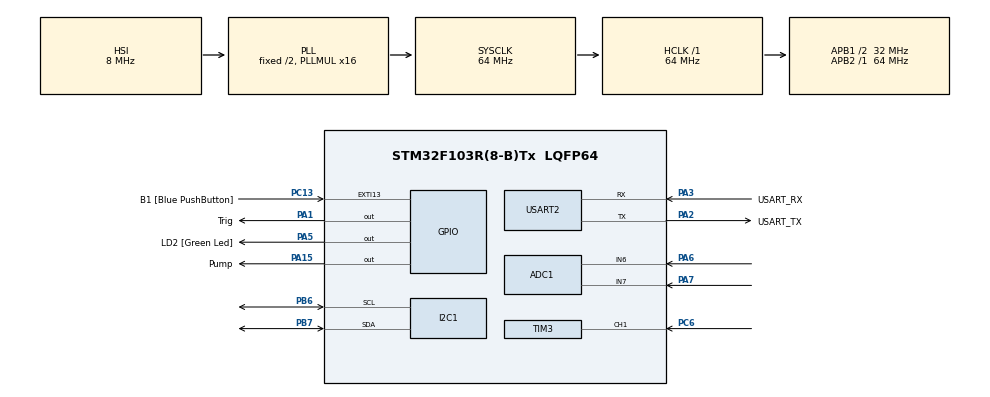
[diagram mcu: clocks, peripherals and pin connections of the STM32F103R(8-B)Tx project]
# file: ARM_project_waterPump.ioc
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ADC1.Channel-3\#ChannelRegularConversion=ADC_CHANNEL_6
ADC1.ContinuousConvMode=DISABLE
ADC1.NbrOfConversionFlag=1
ADC1.Rank-3\#ChannelRegularConversion=1
ADC1.SamplingTime-3\#ChannelRegularConversion=ADC_SAMPLETIME_28CYCLES_5
ADC1.master=1
Dma.ADC1.0.Direction=DMA_PERIPH_TO_MEMORY
Dma.ADC1.0.Instance=DMA1_Channel1
Dma.ADC1.0.MemDataAlignment=DMA_MDATAALIGN_WORD
Dma.ADC1.0.MemInc=DMA_MINC_ENABLE
Dma.ADC1.0.Mode=DMA_CIRCULAR
Dma.ADC1.0.PeriphDataAlignment=DMA_PDATAALIGN_WORD
Dma.ADC1.0.PeriphInc=DMA_PINC_DISABLE
Dma.ADC1.0.Priority=DMA_PRIORITY_LOW
Dma.Request0=ADC1
Mcu.Family=STM32F1
Mcu.Name=STM32F103R(8-B)Tx
Mcu.Package=LQFP64
NVIC.ADC1_2_IRQn=true\:0\:0\:false\:false\:true\:true\:true\:true
NVIC.DMA1_Channel1_IRQn=true\:0\:0\:false\:false\:true\:false\:true\:true
NVIC.EXTI15_10_IRQn=true\:0\:0\:false\:false\:true\:true\:true\:true
NVIC.PriorityGroup=NVIC_PRIORITYGROUP_4
NVIC.TIM2_IRQn=true\:0\:0\:false\:false\:true\:true\:true\:true
NVIC.TIM3_IRQn=true\:0\:0\:false\:false\:true\:true\:true\:true
PA1.GPIO_Label=Trig
PA1.Signal=GPIO_Output
PA13.GPIO_Label=TMS
PA13.Mode=Serial_Wire
PA13.Signal=SYS_JTMS-SWDIO
PA14.GPIO_Label=TCK
PA14.Mode=Serial_Wire
PA14.Signal=SYS_JTCK-SWCLK
PA15.GPIO_Label=Pump
PA15.Signal=GPIO_Output
PA2.GPIO_Label=USART_TX
PA2.GPIO_Mode=GPIO_MODE_AF_PP
PA2.GPIO_PuPd=GPIO_NOPULL
PA2.GPIO_Speed=GPIO_SPEED_FREQ_LOW
PA2.Mode=Asynchronous
PA2.Signal=USART2_TX
PA3.GPIO_Label=USART_RX
PA3.GPIO_Mode=GPIO_MODE_AF_PP
PA3.GPIO_PuPd=GPIO_NOPULL
PA3.GPIO_Speed=GPIO_SPEED_FREQ_LOW
PA3.Mode=Asynchronous
PA3.Signal=USART2_RX
PA5.GPIO_Label=LD2 [Green Led]
PA5.GPIO_ModeDefaultOutputPP=GPIO_MODE_OUTPUT_PP
PA5.GPIO_PuPd=GPIO_NOPULL
PA5.GPIO_Speed=GPIO_SPEED_FREQ_LOW
PA5.Signal=GPIO_Output
PA6.Signal=ADCx_IN6
PA7.Signal=ADCx_IN7
PB3.GPIO_Label=SWO
PB3.Signal=SYS_JTDO-TRACESWO
PB6.Mode=I2C
PB6.Signal=I2C1_SCL
PB7.Mode=I2C
PB7.Signal=I2C1_SDA
PC13-TAMPER-RTC.GPIO_Label=B1 [Blue PushButton]
PC13-TAMPER-RTC.GPIO_PuPd=GPIO_NOPULL
PC13-TAMPER-RTC.Signal=GPXTI13
PC14-OSC32_IN.Mode=LSE-External-Oscillator
PC14-OSC32_IN.Signal=RCC_OSC32_IN
PC15-OSC32_OUT.Mode=LSE-External-Oscillator
PC15-OSC32_OUT.Signal=RCC_OSC32_OUT
PC6.Signal=S_TIM3_CH1
PD0-OSC_IN.Mode=HSE-External-Clock-Source
PD0-OSC_IN.Signal=RCC_OSC_IN
PD1-OSC_OUT.Mode=HSE-External-Clock-Source
PD1-OSC_OUT.Signal=RCC_OSC_OUT
ProjectManager.HeapSize=0x200
ProjectManager.StackSize=0x400
ProjectManager.TargetToolchain=STM32CubeIDE
RCC.ADCPresc=RCC_ADCPCLK2_DIV8
RCC.AHBFreq_Value=64000000
RCC.APB1CLKDivider=RCC_HCLK_DIV2
RCC.APB1Freq_Value=32000000
RCC.APB1TimFreq_Value=64000000
RCC.APB2Freq_Value=64000000
RCC.APB2TimFreq_Value=64000000
RCC.HCLKFreq_Value=64000000
RCC.PLLMUL=RCC_PLL_MUL16
RCC.RTCClockSelection=RCC_RTCCLKSOURCE_LSE
RCC.SYSCLKFreq_VALUE=64000000
RCC.SYSCLKSource=RCC_SYSCLKSOURCE_PLLCLK
RCC.USBFreq_Value=64000000
SH.ADCx_IN6.0=ADC1_IN6,IN6
SH.ADCx_IN7.0=ADC1_IN7,IN7
SH.S_TIM3_CH1.0=TIM3_CH1,Input_Capture1_from_TI1
TIM2.Prescaler=64-1
TIM3.Channel-Input_Capture1_from_TI1=TIM_CHANNEL_1
TIM3.Prescaler=64-1
USART2.VirtualMode=VM_ASYNC
VP_TIM2_VS_ClockSourceINT.Mode=Internal
VP_TIM3_VS_ClockSourceINT.Mode=Internal
board=NUCLEO-F103RB

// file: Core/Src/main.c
/* USER CODE BEGIN Header */
/**
  ******************************************************************************
  * @file           : main.c
  * @brief          : Main program body
  ******************************************************************************
  * @attention
  *
  * Copyright (c) 2022 STMicroelectronics.
  * All rights reserved.
  *
  * This software is licensed under terms that can be found in the LICENSE file
  * in the root directory of this software component.
  * If no LICENSE file comes with this software, it is provided AS-IS.
  *
  ******************************************************************************
  */
/* USER CODE END Header */
#include "main.h"

 ADC_HandleTypeDef hadc1;
DMA_HandleTypeDef hdma_adc1;

I2C_HandleTypeDef hi2c1;

TIM_HandleTypeDef htim2;
TIM_HandleTypeDef htim3;

UART_HandleTypeDef huart2;

/* USER CODE BEGIN PV */
uint32_t IC1, IC2, ic;
uint32_t adc_temperature = 0;

uint16_t SUM, RH, TEMP;

uint8_t Rh_byte1, Rh_byte2, Temp_byte1, Temp_byte2;
uint8_t Presence = 0;

int captureFlag = 0;

char displayDis[50];
char displayTemp[50];

float dis;
float Temperature = 0;
/* USER CODE END PV */

void SystemClock_Config(void);
static void MX_GPIO_Init(void);
static void MX_USART2_UART_Init(void);
static void MX_TIM2_Init(void);
static void MX_TIM3_Init(void);
static void MX_DMA_Init(void);
static void MX_ADC1_Init(void);
static void MX_I2C1_Init(void);

/* USER CODE BEGIN 0 */
#ifdef __GNUC__
/* With GCC, small printf (option LD Linker->Libraries->Small printf
 set to 'Yes') calls __io_putchar() */
#define PUTCHAR_PROTOTYPE int __io_putchar(int ch)
#else
#define PUTCHAR_PROTOTYPE int fputc(int ch, FILE *f)
#endif /* __GNUC__ */
PUTCHAR_PROTOTYPE {
	/* Place your implementation of fputc here */
	/* e.g. write a character to the USART1 and Loop until the end of transmission */
	HAL_UART_Transmit(&huart2, (uint8_t*) &ch, 1, 0xFFFF);

	return ch;
}

void delay_us(uint16_t time) {
	__HAL_TIM_SET_COUNTER(&htim2, 0);
	//TIM4->CNT = 0;
	while ((__HAL_TIM_GET_COUNTER(&htim2)) < time);
}
void ultraSonic(){
	  HAL_GPIO_WritePin(GPIOA, Trig_Pin, GPIO_PIN_SET);
	  delay_us(10);
	  HAL_GPIO_WritePin(GPIOA, Trig_Pin, GPIO_PIN_RESET);
}
void displayLCD(float dis){
	  sprintf(displayDis, "Dis : %.2fcm  ", dis);
	  //sprintf(displayTemp, "Temp : %.2f%cC", temp, 223);//ASCII Code 223 -> degree

	  lcd_put_cur(0, 0);
	  lcd_send_string(displayDis);

//	  lcd_put_cur(1, 0);
//	  lcd_send_string(displayTemp);
}
/* USER CODE END 0 */

int main(void)
{

  /* MCU Configuration--------------------------------------------------------*/

  /* Reset of all peripherals, Initializes the Flash interface and the Systick. */
  HAL_Init();

  /* Configure the system clock */
  SystemClock_Config();

  /* Initialize all configured peripherals */
  MX_GPIO_Init();
  MX_USART2_UART_Init();
  MX_TIM2_Init();
  MX_TIM3_Init();
  MX_DMA_Init();
  MX_ADC1_Init();
  MX_I2C1_Init();
  /* USER CODE BEGIN 2 */
  lcd_init();
  HAL_TIM_Base_Start(&htim2);
  HAL_TIM_IC_Start_IT(&htim3, TIM_CHANNEL_1);

  /* USER CODE END 2 */

  /* Infinite loop */
  /* USER CODE BEGIN WHILE */
  while (1)
  {
	  ultraSonic();
	  displayLCD(dis);

	  printf("distance : %.2f\n\r", dis);
	  if(dis >= 10.0){
		  HAL_GPIO_WritePin(GPIOA, Pump_Pin, GPIO_PIN_SET);
	  }
	  else{
		  HAL_GPIO_WritePin(GPIOA, Pump_Pin, GPIO_PIN_RESET);
	  }

	  HAL_Delay(500);
    /* USER CODE END WHILE */

  }
}

void SystemClock_Config(void)
{
  RCC_OscInitTypeDef RCC_OscInitStruct = {0};
  RCC_ClkInitTypeDef RCC_ClkInitStruct = {0};
  RCC_PeriphCLKInitTypeDef PeriphClkInit = {0};

  /** Initializes the RCC Oscillators according to the specified parameters
  * in the RCC_OscInitTypeDef structure.
  */
  RCC_OscInitStruct.OscillatorType = RCC_OSCILLATORTYPE_HSI;
  RCC_OscInitStruct.HSIState = RCC_HSI_ON;
  RCC_OscInitStruct.HSICalibrationValue = RCC_HSICALIBRATION_DEFAULT;
  RCC_OscInitStruct.PLL.PLLState = RCC_PLL_ON;
  RCC_OscInitStruct.PLL.PLLSource = RCC_PLLSOURCE_HSI_DIV2;
  RCC_OscInitStruct.PLL.PLLMUL = RCC_PLL_MUL16;
  if (HAL_RCC_OscConfig(&RCC_OscInitStruct) != HAL_OK)
  {
    Error_Handler();
  }

  /** Initializes the CPU, AHB and APB buses clocks
  */
  RCC_ClkInitStruct.ClockType = RCC_CLOCKTYPE_HCLK|RCC_CLOCKTYPE_SYSCLK
                              |RCC_CLOCKTYPE_PCLK1|RCC_CLOCKTYPE_PCLK2;
  RCC_ClkInitStruct.SYSCLKSource = RCC_SYSCLKSOURCE_PLLCLK;
  RCC_ClkInitStruct.AHBCLKDivider = RCC_SYSCLK_DIV1;
  RCC_ClkInitStruct.APB1CLKDivider = RCC_HCLK_DIV2;
  RCC_ClkInitStruct.APB2CLKDivider = RCC_HCLK_DIV1;

  if (HAL_RCC_ClockConfig(&RCC_ClkInitStruct, FLASH_LATENCY_2) != HAL_OK)
  {
    Error_Handler();
  }
  PeriphClkInit.PeriphClockSelection = RCC_PERIPHCLK_ADC;
  PeriphClkInit.AdcClockSelection = RCC_ADCPCLK2_DIV8;
  if (HAL_RCCEx_PeriphCLKConfig(&PeriphClkInit) != HAL_OK)
  {
    Error_Handler();
  }
}

static void MX_ADC1_Init(void)
{

  ADC_ChannelConfTypeDef sConfig = {0};

  /** Common config
  */
  hadc1.Instance = ADC1;
  hadc1.Init.ScanConvMode = ADC_SCAN_DISABLE;
  hadc1.Init.ContinuousConvMode = DISABLE;
  hadc1.Init.DiscontinuousConvMode = DISABLE;
  hadc1.Init.ExternalTrigConv = ADC_SOFTWARE_START;
  hadc1.Init.DataAlign = ADC_DATAALIGN_RIGHT;
  hadc1.Init.NbrOfConversion = 1;
  if (HAL_ADC_Init(&hadc1) != HAL_OK)
  {
    Error_Handler();
  }

  /** Configure Regular Channel
  */
  sConfig.Channel = ADC_CHANNEL_6;
  sConfig.Rank = ADC_REGULAR_RANK_1;
  sConfig.SamplingTime = ADC_SAMPLETIME_28CYCLES_5;
  if (HAL_ADC_ConfigChannel(&hadc1, &sConfig) != HAL_OK)
  {
    Error_Handler();
  }

}

static void MX_I2C1_Init(void)
{

  hi2c1.Instance = I2C1;
  hi2c1.Init.ClockSpeed = 100000;
  hi2c1.Init.DutyCycle = I2C_DUTYCYCLE_2;
  hi2c1.Init.OwnAddress1 = 0;
  hi2c1.Init.AddressingMode = I2C_ADDRESSINGMODE_7BIT;
  hi2c1.Init.DualAddressMode = I2C_DUALADDRESS_DISABLE;
  hi2c1.Init.OwnAddress2 = 0;
  hi2c1.Init.GeneralCallMode = I2C_GENERALCALL_DISABLE;
  hi2c1.Init.NoStretchMode = I2C_NOSTRETCH_DISABLE;
  if (HAL_I2C_Init(&hi2c1) != HAL_OK)
  {
    Error_Handler();
  }

}

static void MX_TIM2_Init(void)
{

  TIM_ClockConfigTypeDef sClockSourceConfig = {0};
  TIM_MasterConfigTypeDef sMasterConfig = {0};

  htim2.Instance = TIM2;
  htim2.Init.Prescaler = 64-1;
  htim2.Init.CounterMode = TIM_COUNTERMODE_UP;
  htim2.Init.Period = 65535;
  htim2.Init.ClockDivision = TIM_CLOCKDIVISION_DIV1;
  htim2.Init.AutoReloadPreload = TIM_AUTORELOAD_PRELOAD_DISABLE;
  if (HAL_TIM_Base_Init(&htim2) != HAL_OK)
  {
    Error_Handler();
  }
  sClockSourceConfig.ClockSource = TIM_CLOCKSOURCE_INTERNAL;
  if (HAL_TIM_ConfigClockSource(&htim2, &sClockSourceConfig) != HAL_OK)
  {
    Error_Handler();
  }
  sMasterConfig.MasterOutputTrigger = TIM_TRGO_RESET;
  sMasterConfig.MasterSlaveMode = TIM_MASTERSLAVEMODE_DISABLE;
  if (HAL_TIMEx_MasterConfigSynchronization(&htim2, &sMasterConfig) != HAL_OK)
  {
    Error_Handler();
  }

}

static void MX_TIM3_Init(void)
{

  TIM_ClockConfigTypeDef sClockSourceConfig = {0};
  TIM_MasterConfigTypeDef sMasterConfig = {0};
  TIM_IC_InitTypeDef sConfigIC = {0};

  htim3.Instance = TIM3;
  htim3.Init.Prescaler = 64-1;
  htim3.Init.CounterMode = TIM_COUNTERMODE_UP;
  htim3.Init.Period = 65535;
  htim3.Init.ClockDivision = TIM_CLOCKDIVISION_DIV1;
  htim3.Init.AutoReloadPreload = TIM_AUTORELOAD_PRELOAD_DISABLE;
  if (HAL_TIM_Base_Init(&htim3) != HAL_OK)
  {
    Error_Handler();
  }
  sClockSourceConfig.ClockSource = TIM_CLOCKSOURCE_INTERNAL;
  if (HAL_TIM_ConfigClockSource(&htim3, &sClockSourceConfig) != HAL_OK)
  {
    Error_Handler();
  }
  if (HAL_TIM_IC_Init(&htim3) != HAL_OK)
  {
    Error_Handler();
  }
  sMasterConfig.MasterOutputTrigger = TIM_TRGO_RESET;
  sMasterConfig.MasterSlaveMode = TIM_MASTERSLAVEMODE_DISABLE;
  if (HAL_TIMEx_MasterConfigSynchronization(&htim3, &sMasterConfig) != HAL_OK)
  {
    Error_Handler();
  }
  sConfigIC.ICPolarity = TIM_INPUTCHANNELPOLARITY_RISING;
  sConfigIC.ICSelection = TIM_ICSELECTION_DIRECTTI;
  sConfigIC.ICPrescaler = TIM_ICPSC_DIV1;
  sConfigIC.ICFilter = 0;
  if (HAL_TIM_IC_ConfigChannel(&htim3, &sConfigIC, TIM_CHANNEL_1) != HAL_OK)
  {
    Error_Handler();
  }

}

static void MX_USART2_UART_Init(void)
{

  huart2.Instance = USART2;
  huart2.Init.BaudRate = 115200;
  huart2.Init.WordLength = UART_WORDLENGTH_8B;
  huart2.Init.StopBits = UART_STOPBITS_1;
  huart2.Init.Parity = UART_PARITY_NONE;
  huart2.Init.Mode = UART_MODE_TX_RX;
  huart2.Init.HwFlowCtl = UART_HWCONTROL_NONE;
  huart2.Init.OverSampling = UART_OVERSAMPLING_16;
  if (HAL_UART_Init(&huart2) != HAL_OK)
  {
    Error_Handler();
  }

}

static void MX_DMA_Init(void)
{

  /* DMA controller clock enable */
  __HAL_RCC_DMA1_CLK_ENABLE();

  /* DMA interrupt init */
  /* DMA1_Channel1_IRQn interrupt configuration */
  HAL_NVIC_SetPriority(DMA1_Channel1_IRQn, 0, 0);
  HAL_NVIC_EnableIRQ(DMA1_Channel1_IRQn);

}

static void MX_GPIO_Init(void)
{
  GPIO_InitTypeDef GPIO_InitStruct = {0};

  /* GPIO Ports Clock Enable */
  __HAL_RCC_GPIOC_CLK_ENABLE();
  __HAL_RCC_GPIOD_CLK_ENABLE();
  __HAL_RCC_GPIOA_CLK_ENABLE();
  __HAL_RCC_GPIOB_CLK_ENABLE();

  /*Configure GPIO pin Output Level */
  HAL_GPIO_WritePin(GPIOA, Trig_Pin|LD2_Pin|Pump_Pin, GPIO_PIN_RESET);

  /*Configure GPIO pin : B1_Pin */
  GPIO_InitStruct.Pin = B1_Pin;
  GPIO_InitStruct.Mode = GPIO_MODE_IT_RISING;
  GPIO_InitStruct.Pull = GPIO_NOPULL;
  HAL_GPIO_Init(B1_GPIO_Port, &GPIO_InitStruct);

  /*Configure GPIO pins : Trig_Pin LD2_Pin Pump_Pin */
  GPIO_InitStruct.Pin = Trig_Pin|LD2_Pin|Pump_Pin;
  GPIO_InitStruct.Mode = GPIO_MODE_OUTPUT_PP;
  GPIO_InitStruct.Pull = GPIO_NOPULL;
  GPIO_InitStruct.Speed = GPIO_SPEED_FREQ_LOW;
  HAL_GPIO_Init(GPIOA, &GPIO_InitStruct);

  /* EXTI interrupt init*/
  HAL_NVIC_SetPriority(EXTI15_10_IRQn, 0, 0);
  HAL_NVIC_EnableIRQ(EXTI15_10_IRQn);

}

/* USER CODE BEGIN 4 */
void HAL_TIM_IC_CaptureCallback(TIM_HandleTypeDef *htim) {
	if (htim->Channel == HAL_TIM_ACTIVE_CHANNEL_1) { //if channel is '1'
		if (captureFlag == 0) {
			IC1 = HAL_TIM_ReadCapturedValue(&htim3, TIM_CHANNEL_1);
			//IC1 = TIM2->CCR1;

			captureFlag = 1;
			__HAL_TIM_SET_CAPTUREPOLARITY(&htim3, TIM_CHANNEL_1, TIM_INPUTCHANNELPOLARITY_FALLING);

			//printf("cap!\n\r");
		}

		else if (captureFlag == 1) {
			IC2 = HAL_TIM_ReadCapturedValue(&htim3, TIM_CHANNEL_1);
			//IC2 = TIM2->CCR1;
			captureFlag = 0;
			if(IC2>IC1){
				ic = IC2 - IC1;
			}
			else{
				ic = (0xFFFF-IC1) + IC2; //uint32_t max = 0xFFFF
			}
			//freq = 1 / (ic * 0.000001); //IC1, IC2 parameters are frequency?
			//freq = 1 / ((IC2 - IC1) * psr/clk);
			dis = (ic*0.034)/2;

			__HAL_TIM_SET_COUNTER(&htim3, 0); // set counter(=CNT) 0
			__HAL_TIM_SET_CAPTUREPOLARITY(&htim3, TIM_CHANNEL_1, TIM_INPUTCHANNELPOLARITY_RISING);
			//TIM3->CCER &= ~(1<< 1);

			//printf("ic1 : %u, ic2 : %u\n\r", IC1, IC2);
			//printf("t_us : %u\n\r", ic);
		}
	}
}
/* USER CODE END 4 */

void Error_Handler(void)
{
  __disable_irq();
  while (1)
  {
  }
}
